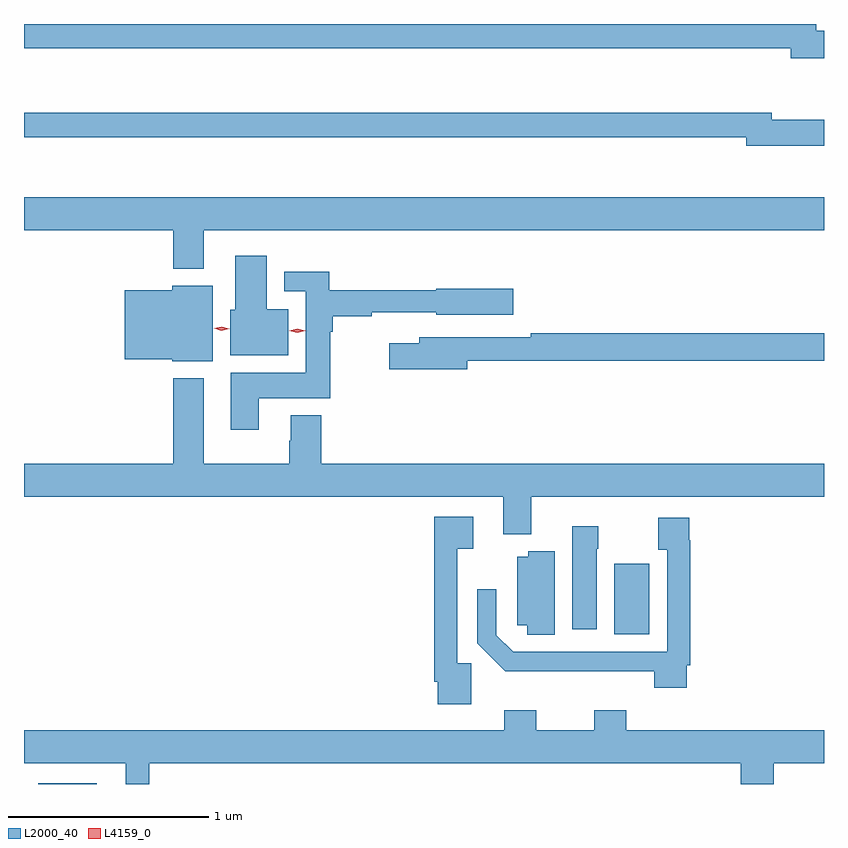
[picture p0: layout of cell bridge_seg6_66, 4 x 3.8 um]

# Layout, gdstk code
import gdstk
lib = gdstk.Library(unit=1e-6, precision=1e-09)
def R(c, l, rs):  # rectangles x0, y0, x1, y1
    for r in rs: c.add(gdstk.rectangle(r[:2], r[2:], *l))
def P(c, l, *ps):  # polygons
    for p in ps: c.add(gdstk.Polygon(p, *l))
L2000_40 = (2000, 40)
L4159_0 = (4159, 0)

bridge_seg6_66 = lib.new_cell('bridge_seg6_66')
R(bridge_seg6_66, L2000_40, [(863.324,960.551,863.617,960.556)])
P(bridge_seg6_66, L2000_40, [(867.253,964.317),(867.214,964.317),(867.214,964.351),(863.253,964.351),(863.253,964.23),(867.086,964.23),(867.086,964.18),(867.253,964.18)],
  [(867.253,963.873),(866.992,963.873),(866.992,963.907),(863.253,963.907),(863.253,963.786),(866.864,963.786),(866.864,963.743),(867.253,963.743)],
  [(864.151,963.32),(867.253,963.32),(867.253,963.484),(863.253,963.484),(863.253,963.32),(863.999,963.32),(863.999,963.128),(864.151,963.128)],
  [(864.574,962.926),(864.466,962.926),(864.466,963.193),(864.308,963.193),(864.308,962.922),(864.284,962.922),(864.284,962.696),(864.574,962.696)],
  [(864.427,962.48),(864.784,962.48),(864.784,962.813),(864.797,962.813),(864.797,962.89),(864.992,962.89),(864.992,962.91),(865.314,962.91),(865.314,962.897),(865.699,962.897),(865.699,963.027),(865.314,963.027),(865.314,963.019),(864.779,963.019),(864.779,963.113),(864.555,963.113),(864.555,963.015),(864.662,963.015),(864.662,962.608),(864.287,962.608),(864.287,962.322),(864.427,962.322)],
  [(864.196,963.043),(863.994,963.043),(863.994,963.019),(863.756,963.019),(863.756,962.675),(863.994,962.675),(863.994,962.666),(864.196,962.666)],
  [(865.468,962.668),(867.253,962.668),(867.253,962.804),(865.786,962.804),(865.786,962.784),(865.229,962.784),(865.229,962.755),(865.08,962.755),(865.08,962.626),(865.468,962.626)],
  [(865.789,961.988),(867.253,961.988),(867.253,962.152),(864.74,962.152),(864.74,962.395),(864.587,962.395),(864.587,962.268),(864.58,962.268),(864.58,962.152),(864.151,962.152),(864.151,962.581),(863.999,962.581),(863.999,962.152),(863.253,962.152),(863.253,961.988),(865.649,961.988),(865.649,961.799),(865.789,961.799)],
  [(865.488,961.155),(865.419,961.155),(865.419,961.727),(865.498,961.727),(865.498,961.888),(865.303,961.888),(865.303,961.063),(865.322,961.063),(865.322,960.951),(865.488,960.951)],
  [(866.566,961.144),(866.585,961.144),(866.585,961.769),(866.578,961.769),(866.578,961.882),(866.423,961.882),(866.423,961.722),(866.469,961.722),(866.469,961.212),(865.698,961.212),(865.614,961.296),(865.614,961.525),(865.518,961.525),(865.518,961.256),(865.659,961.115),(866.405,961.115),(866.405,961.032),(866.566,961.032)],
  [(866.116,961.727),(866.124,961.727),(866.124,961.84),(865.994,961.84),(865.994,961.326),(866.116,961.326)],
  [(865.906,961.714),(865.773,961.714),(865.773,961.687),(865.718,961.687),(865.718,961.344),(865.77,961.344),(865.77,961.297),(865.906,961.297)],
  [(866.38,961.55),(866.379,961.55),(866.379,961.653),(866.204,961.653),(866.204,961.301),(866.38,961.301)],
  [(863.879,960.656),(866.837,960.656),(866.837,960.551),(867.002,960.551),(867.002,960.656),(867.253,960.656),(867.253,960.82),(866.264,960.82),(866.264,960.919),(866.104,960.919),(866.104,960.82),(865.815,960.82),(865.815,960.919),(865.655,960.919),(865.655,960.82),(863.253,960.82),(863.253,960.656),(863.762,960.656),(863.762,960.551),(863.879,960.551)])
P(bridge_seg6_66, L4159_0, [(864.619,962.808),(864.578,962.817),(864.578,962.817),(864.578,962.817),(864.619,962.828),(864.66,962.818),(864.661,962.818),(864.66,962.818)],
  [(864.24,962.818),(864.204,962.829),(864.203,962.829),(864.204,962.829),(864.241,962.838),(864.278,962.828),(864.278,962.828),(864.278,962.828)])

lib.write_gds('bridge_seg6_66.gds')
